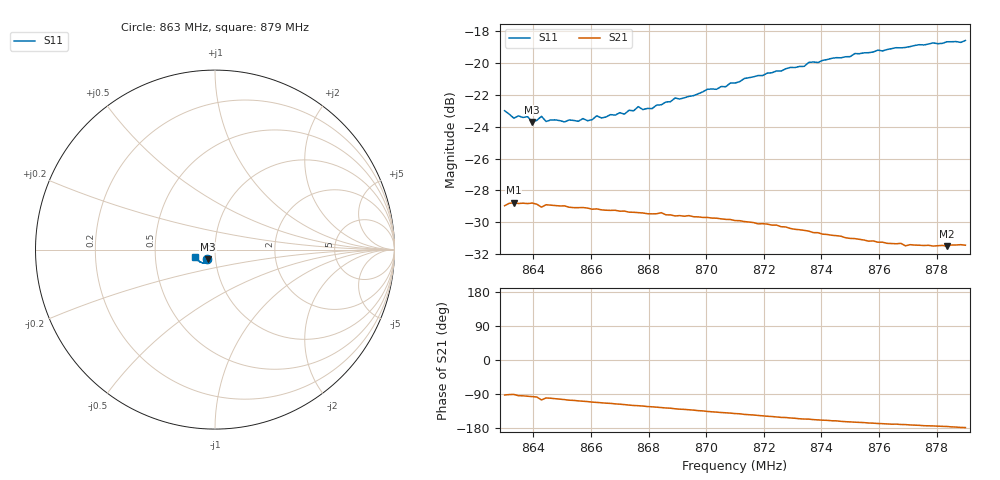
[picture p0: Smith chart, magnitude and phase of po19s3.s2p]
# HZ S RI R 50
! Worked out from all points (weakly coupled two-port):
!   101 points, 863 MHz to 879 MHz, reference 50 ohm
!   highest |S21| = -28.79 dB at 863.32 MHz (marker M1); lowest = -31.5 dB at 878.36 MHz (marker M2)
!   lowest |S11| = -23.7 dB at 863.96 MHz (marker M3), VSWR 1.14, Z = 46 - j4.83 ohm
!   |S11| at or under -10 dB: start of sweep to end of sweep
!   S12 and S22 are empty: the file has one direction only
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8.63e8  -0.0458 -0.0541  -0.00147 -0.0356  0 0  0 0
8.6332e8  -0.0418 -0.0525  -0.000518 -0.0364  0 0  0 0
8.638e8  -0.0425 -0.053  -0.00356 -0.036  0 0  0 0
8.6396e8  -0.0392 -0.0523  -0.00414 -0.0361  0 0  0 0
8.6428e8  -0.0399 -0.0551  -0.00934 -0.034  0 0  0 0
8.6444e8  -0.039 -0.0527  -0.00631 -0.0353  0 0  0 0
8.6556e8  -0.036 -0.0549  -0.0108 -0.0334  0 0  0 0
8.6572e8  -0.0353 -0.0569  -0.0113 -0.0333  0 0  0 0
8.6588e8  -0.0358 -0.0553  -0.0118 -0.033  0 0  0 0
8.662e8  -0.0358 -0.0582  -0.013 -0.0323  0 0  0 0
8.6636e8  -0.0349 -0.0575  -0.0135 -0.0318  0 0  0 0
8.6716e8  -0.034 -0.0602  -0.0159 -0.0303  0 0  0 0
8.6764e8  -0.0357 -0.0637  -0.0172 -0.0292  0 0  0 0
8.678e8  -0.035 -0.0623  -0.0176 -0.0288  0 0  0 0
8.6844e8  -0.0363 -0.0644  -0.0197 -0.0276  0 0  0 0
8.6892e8  -0.0387 -0.0675  -0.0207 -0.0258  0 0  0 0
8.6956e8  -0.0398 -0.0683  -0.0221 -0.0243  0 0  0 0
8.71e8  -0.0472 -0.0726  -0.025 -0.02  0 0  0 0
8.7372e8  -0.0675 -0.075  -0.027 -0.0113  0 0  0 0
8.7644e8  -0.092 -0.0623  -0.0266 -0.00497  0 0  0 0
8.7836e8  -0.1074 -0.046  -0.0265 -0.00212  0 0  0 0
8.79e8  -0.1113 -0.0391  -0.0267 -0.000779  0 0  0 0
